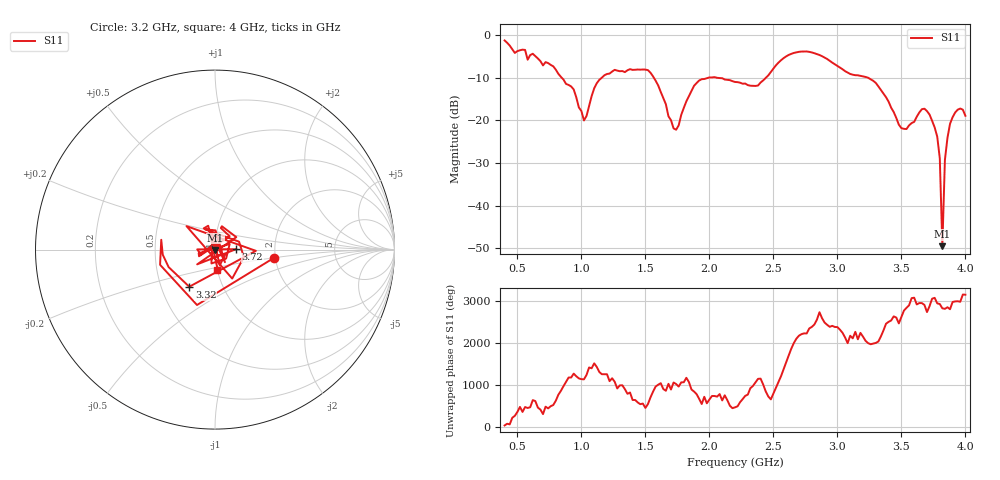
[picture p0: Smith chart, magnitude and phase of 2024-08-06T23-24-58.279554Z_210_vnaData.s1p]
!Created with skrf (http://scikit-rf.org).
# Hz S RI R 50.0
!freq ReS11 ImS11
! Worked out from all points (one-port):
!   181 points, 400 MHz to 4 GHz, reference 50 ohm
!   lowest |S11| = -49.5 dB at 3.82 GHz (marker M1), VSWR 1.01, Z = 50.2 - j0.26 ohm
!   |S11| at or under -10 dB: 1.567 GHz to 1.988 GHz (420.9 MHz wide, 23.7 % of centre); 2.069 GHz to 2.44 GHz (371.4 MHz wide, 16.5 % of centre); 3.242 GHz to end of sweep (the widest 3 of 4)
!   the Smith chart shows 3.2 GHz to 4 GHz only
!   S11 on the Smith chart (normalised r, x): 3.2 GHz: 1.95, -0.21; 3.32 GHz: 0.69, -0.31; 3.72 GHz: 1.27, +0.01; 4 GHz: 0.99, -0.23
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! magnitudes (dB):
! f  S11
! 400 MHz  -1.2
! 860 MHz  -10.4
! 940 MHz  -12.7
! 1.02 GHz  -20.0
! 1.12 GHz  -11.3
! 1.3 GHz  -8.4
! 1.52 GHz  -8.2
! 1.6 GHz  -11.8
! 1.72 GHz  -21.9
! 1.76 GHz  -21.1
! 1.92 GHz  -10.6
! 2.2 GHz  -11.0
! 2.38 GHz  -11.8
! 2.66 GHz  -4.1
! 3.1 GHz  -9.1
! 3.2 GHz  -9.6
! 3.32 GHz  -12.0
! 3.5 GHz  -21.8
! 3.56 GHz  -21.1
! 3.66 GHz  -17.4
! 3.72 GHz  -18.6
! 3.78 GHz  -23.8
! 3.8 GHz  -28.9
! 3.82 GHz  -49.5
! 3.84 GHz  -29.2
! 3.86 GHz  -24.1
! 3.92 GHz  -18.1
! 4 GHz  -18.9
